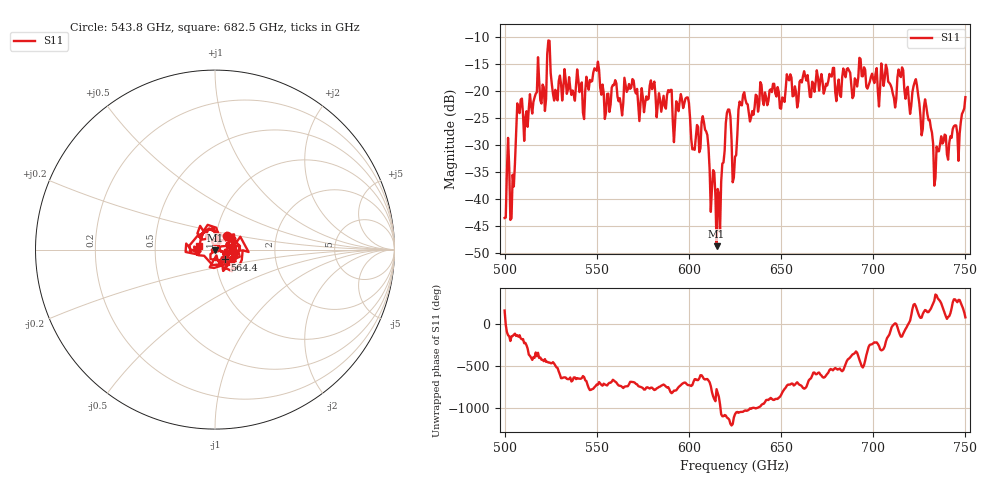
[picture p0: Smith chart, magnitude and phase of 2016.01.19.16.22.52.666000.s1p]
!Created with skrf (http://scikit-rf.org).
# GHz S RI R 50.0
!freq ReS11 ImS11
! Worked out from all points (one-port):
!   401 points, 500 GHz to 750 GHz, reference 50 ohm
!   lowest |S11| = -48.8 dB at 615 GHz (marker M1), VSWR 1.01, Z = 50.2 - j0.312 ohm
!   |S11| at or under -10 dB: start of sweep to end of sweep
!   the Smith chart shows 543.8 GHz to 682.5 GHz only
!   S11 on the Smith chart (normalised r, x): 543.8 GHz: 1.13, +0.17; 564.4 GHz: 1.11, -0.12; 682.5 GHz: 0.84, +0.03
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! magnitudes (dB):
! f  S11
! 500 GHz  -43.5
! 504.4 GHz  -35.5
! 508.1 GHz  -24.1
! 521.2 GHz  -19.3
! 524.4 GHz  -10.7
! 527.5 GHz  -19.8
! 531.2 GHz  -21.7
! 543.8 GHz  -20.0
! 550 GHz  -16.2
! 562.5 GHz  -21.3
! 564.4 GHz  -22.2
! 593.8 GHz  -22.4
! 598.8 GHz  -21.2
! 602.5 GHz  -30.7
! 608.8 GHz  -27.2
! 615 GHz  -48.8
! 616.2 GHz  -39.1
! 621.2 GHz  -23.4
! 625 GHz  -32.2
! 628.8 GHz  -22.6
! 656.2 GHz  -21.0
! 682.5 GHz  -21.1
! 687.5 GHz  -16.6
! 715 GHz  -17.4
! 718.8 GHz  -19.2
! 723.1 GHz  -17.8
! 734.4 GHz  -30.3
! 750 GHz  -21.1
